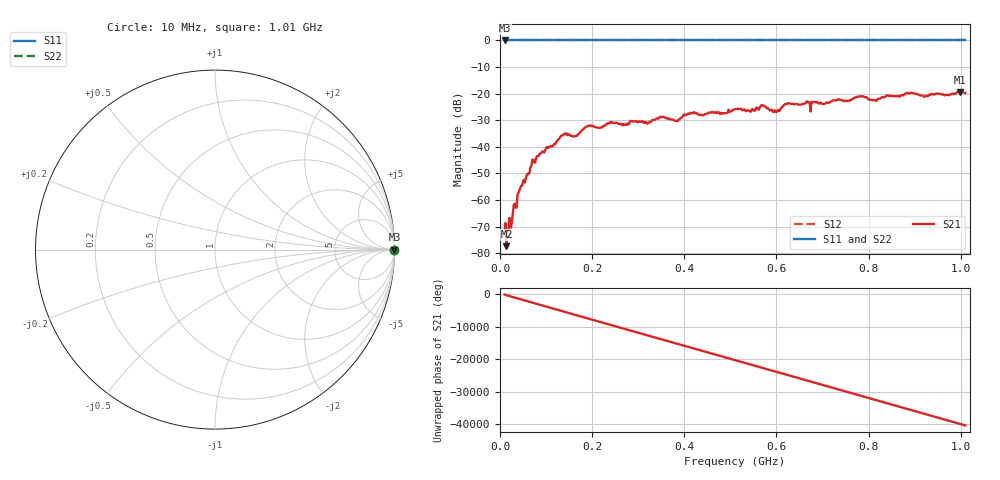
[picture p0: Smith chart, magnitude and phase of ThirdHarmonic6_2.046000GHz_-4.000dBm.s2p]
! 8/17/2025 12:31:51 AM
! C:\ANRITSUVNA\TEMP\TEMP.S2P
! CHANNEL.1
! TR.MEASUREMENT
! RAW.DATA
! RF.CORRECTION.OFF
! AVERAGING.OFF
! IF.BANDWIDTH: 5KHZ
! SWEEPTYPE:  FREQ.SWEEP(Linear)
! Reference Plane Port Info
! PORT:  PORT1  PORT2
! DISTANCE:  0  m  0  m
! TIME:  0  s  0  s
! PHASE.OFFSET:  0  deg.  0  deg.
! LOSS:  0  dB  0  dB
! REF.LOSS:  0  dB  0  dB
! REF.FREQ:  0  Hz  0  Hz
! Power Info
! POWER:  -20  dBm  -20  dBm
! EFF.POWER:  -20  dBm  -20  dBm
! SOURCE.ATTEN:  0  dB  0  dB
! TEST.ATTEN:  0  dB  0  dB
# GHZ S RI R 50.0
! FREQ.GHZ  S11RE  S11IM  S21RE  S21IM  S12RE  S12IM  S22RE  S22IM
!; PortSelection: Port_12
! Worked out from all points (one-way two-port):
!   501 points, 10 MHz to 1.01 GHz, reference 50 ohm
!   highest |S21| = -19.34 dB at 998 MHz (marker M1); lowest = -77.3 dB at 14 MHz (marker M2)
!   lowest |S11| = 0.0 dB at 10 MHz (marker M3)
!   |S11| at or under -10 dB: nowhere
!   |S22| runs from 0.0 to 0.0 dB; largest |S21 - S12| = 1.1
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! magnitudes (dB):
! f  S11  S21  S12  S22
! 10 MHz  0.0  -71.6  0.0  0.0
! 14 MHz  0.0  -77.3  0.0  0.0
! 42 MHz  0.0  -56.2  0.0  0.0
! 70 MHz  0.0  -44.8  0.0  0.0
! 136 MHz  0.0  -35.6  0.0  0.0
! 164 MHz  0.0  -35.8  0.0  0.0
! 178 MHz  0.0  -33.8  0.0  0.0
! 192 MHz  0.0  -32.1  0.0  0.0
! 322 MHz  0.0  -30.9  0.0  0.0
! 344 MHz  0.0  -29.3  0.0  0.0
! 382 MHz  0.0  -30.3  0.0  0.0
! 418 MHz  0.0  -27.4  0.0  0.0
! 510 MHz  0.0  -25.8  0.0  0.0
! 542 MHz  0.0  -26.6  0.0  0.0
! 570 MHz  0.0  -24.3  0.0  0.0
! 596 MHz  0.0  -26.3  0.0  0.0
! 624 MHz  0.0  -23.7  0.0  0.0
! 678 MHz  0.0  -23.3  0.0  0.0
! 814 MHz  0.0  -22.5  0.0  0.0
! 844 MHz  0.0  -20.9  0.0  0.0
! 998 MHz  0.0  -19.3  0.0  0.0
! 1.01 GHz  0.0  -19.8  0.0  0.0
